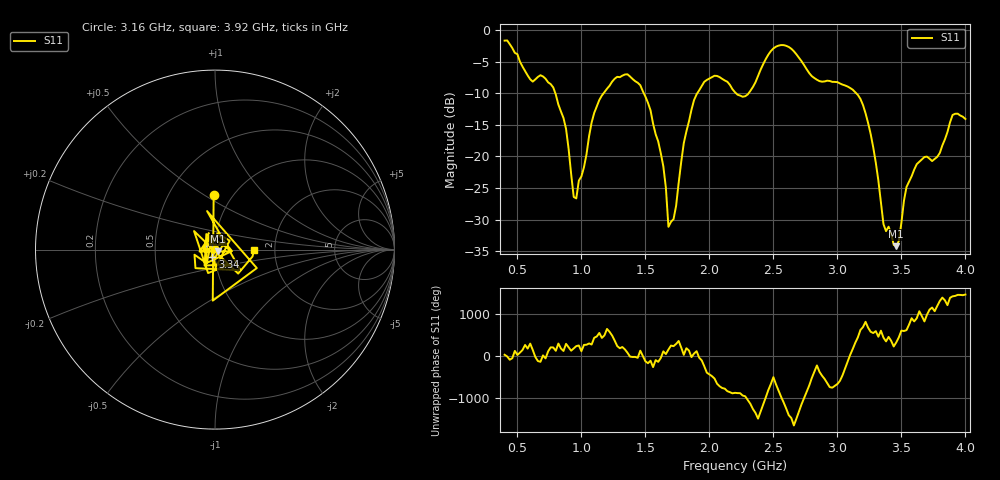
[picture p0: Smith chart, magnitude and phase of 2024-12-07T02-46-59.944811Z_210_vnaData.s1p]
!Created with skrf (http://scikit-rf.org).
# Hz S RI R 50.0
!freq ReS11 ImS11
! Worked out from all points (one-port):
!   181 points, 400 MHz to 4 GHz, reference 50 ohm
!   lowest |S11| = -34.2 dB at 3.46 GHz (marker M1), VSWR 1.04, Z = 51.7 - j0.995 ohm
!   |S11| at or under -10 dB: 796.1 MHz to 1.174 GHz (377.6 MHz wide, 38.3 % of centre); 1.487 GHz to 1.906 GHz (418.8 MHz wide, 24.7 % of centre); 3.147 GHz to end of sweep (the widest 3 of 4)
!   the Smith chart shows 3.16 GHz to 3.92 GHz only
!   S11 on the Smith chart (normalised r, x): 3.16 GHz: 0.82, +0.55; 3.34 GHz: 0.97, -0.08; 3.92 GHz: 1.55, -0.02
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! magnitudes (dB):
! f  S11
! 400 MHz  -1.7
! 780 MHz  -9.1
! 860 MHz  -13.9
! 940 MHz  -26.4
! 960 MHz  -26.7
! 1.1 GHz  -13.1
! 1.3 GHz  -7.5
! 1.54 GHz  -12.7
! 1.64 GHz  -21.6
! 1.68 GHz  -31.2
! 1.72 GHz  -29.9
! 1.76 GHz  -24.2
! 1.86 GHz  -12.6
! 1.96 GHz  -8.2
! 2.2 GHz  -9.9
! 2.3 GHz  -10.2
! 2.5 GHz  -2.9
! 2.66 GHz  -3.4
! 3.1 GHz  -9.2
! 3.16 GHz  -10.3
! 3.26 GHz  -16.5
! 3.34 GHz  -27.2
! 3.36 GHz  -30.7
! 3.46 GHz  -34.2
! 3.56 GHz  -24.0
! 3.78 GHz  -20.1
! 3.92 GHz  -13.3
! 4 GHz  -14.1
